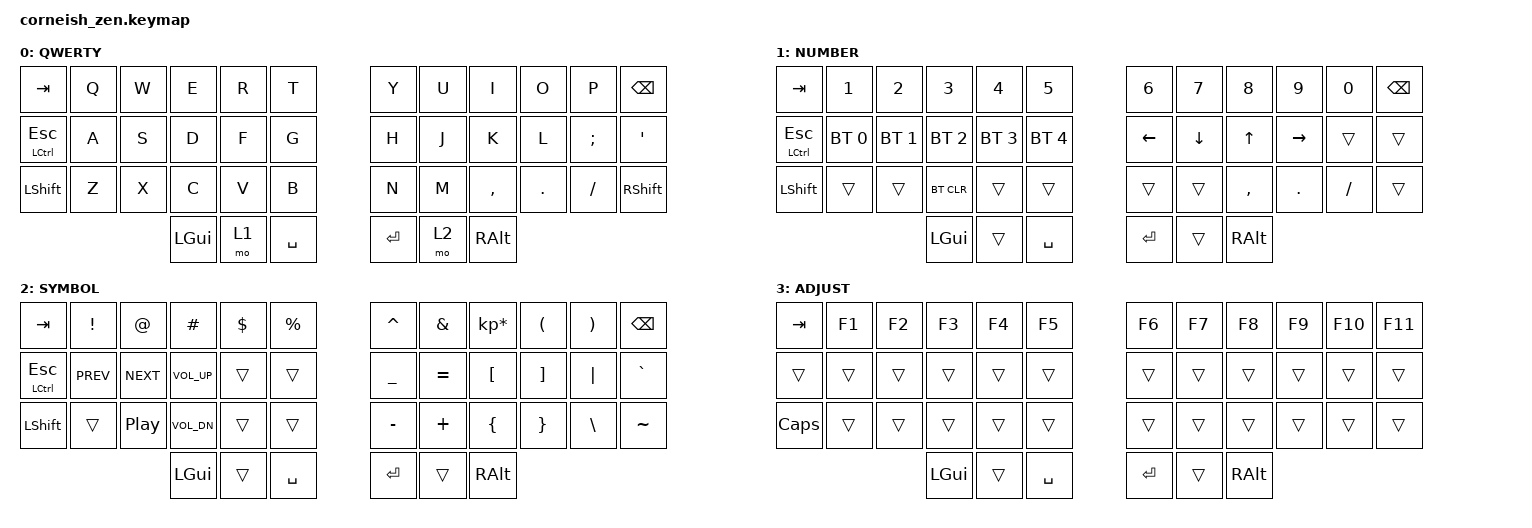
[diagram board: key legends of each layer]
#include <behaviors.dtsi>
#include <dt-bindings/zmk/keys.h>
#include <dt-bindings/zmk/bt.h>

/ {
  chosen {
    zmk,matrix_transform = &default_transform;
    //zmk,matrix_transform = &five_column_transform;
  };
};

/ {
        conditional_layers {
          compatible = "zmk,conditional-layers";
          tri_layer {
            if-layers = <1 2>;
            then-layer = <3>;
          };
        };

        keymap {
                compatible = "zmk,keymap";

                default_layer {
                        label = "QWERTY";
// -----------------------------------------------------------------------------------------
// |  TAB    |  Q  |  W  |  E  |  R  |  T  |   |  Y  |  U   |  I  |  O  |  P  | BKSP |
// |CTRL/ESC |  A  |  S  |  D  |  F  |  G  |   |  H  |  J   |  K  |  L  |  ;  |  '   |
// | SHFT    |  Z  |  X  |  C  |  V  |  B  |   |  N  |  M   |  ,  |  .  |  /  | SHFT |
//                    | GUI | LWR | SPC |   | ENT | RSE  | ALT |
                        bindings = <
   &kp TAB   &kp Q &kp W &kp E &kp R &kp T   &kp Y &kp U  &kp I     &kp O   &kp P    &kp BSPC
   &mt LCTRL ESC &kp A &kp S &kp D &kp F &kp G   &kp H &kp J  &kp K     &kp L   &kp SEMI &kp SQT
   &kp LSHFT &kp Z &kp X &kp C &kp V &kp B   &kp N &kp M  &kp COMMA &kp DOT &kp FSLH &kp RSHFT
                  &kp LGUI &mo 1 &kp SPACE   &kp RET &mo 2 &kp RALT
                        >;
                };
                lower_layer {
                        label = "NUMBER";
// -----------------------------------------------------------------------------------------
// |  TAB     |  1  |  2  |  3   |  4  |  5  |   |  6  |  7  |  8  |  9  |  0  | BKSP |
// | CTRL/ESC | BT0 | BT1 | BT2  | BT3 | BT4 |   | LFT | DWN |  UP | RGT |     |      |
// | SHFT     |     |     | BTCL |     |     |   |     |     |  ,  |  .  |  /  |      |
//                    | GUI |     | SPC |   | ENT |     | ALT |
                        bindings = <
   &kp TAB    &kp N1       &kp N2       &kp N3       &kp N4       &kp N5         &kp N6   &kp N7   &kp N8 &kp N9    &kp N0 &kp BSPC
   &mt LCTRL ESC &bt BT_SEL 0 &bt BT_SEL 1 &bt BT_SEL 2 &bt BT_SEL 3 &bt BT_SEL 4   &kp LEFT &kp DOWN &kp UP &kp RIGHT &trans &trans
   &kp LSHFT  &trans       &trans       &bt BT_CLR       &trans       &trans         &trans   &trans   &kp COMMA &kp DOT &kp FSLH &trans
                          	        &kp LGUI     &trans       &kp SPACE      &kp RET  &trans   &kp RALT
                        >;
                };

                raise_layer {
                        label = "SYMBOL";
// -----------------------------------------------------------------------------------------
// |  TAB     |  !    |  @      |  #   |  $  |  %  |   |  ^  |  &  |  *  |  (  |  )  | BKSP |
// | CTRL/ESC |  PREV |  NEXT   |  VUP |     |     |   |  _  |  =  |  [  |  ]  | "|" |  `   |
// | SHFT     |       | PLAY/PZ |  VDN |     |     |   |  -  |  +  |  {  |  }  |  /  |  ~   |
//                    | GUI |     | SPC |   | ENT |     | ALT |
                        bindings = <
   &kp  TAB  &kp EXCL &kp AT &kp HASH &kp DLLR &kp PRCNT   &kp CARET &kp AMPS  &kp KP_MULTIPLY &kp LPAR &kp RPAR &kp BSPC
   &mt LCTRL ESC &kp C_PREV   &kp C_NEXT &kp C_VOL_UP   &trans   &trans      &kp UNDER &kp EQUAL &kp LBKT        &kp RBKT &kp PIPE &kp GRAVE
   &kp LSHFT &trans   &kp C_PP &kp C_VOL_DN   &trans   &trans      &kp MINUS &kp PLUS  &kp LBRC        &kp RBRC &kp BSLH &kp TILDE
                    	     &kp LGUI &trans   &kp SPACE   &kp RET   &trans    &kp RALT
                        >;
                };

                adjust_layer {
                        label = "ADJUST";
// -----------------------------------------------------------------------------------------
// |          |  F1 |  F2 |  F3 |  F4 |  F5 |   |  F6 |  F7 |  F8 |  F9 | F10 |  F11 |
// |          |     |     |     |     |     |   |     |     |     |     |     |      |
// |          |     |     |     |     |     |   |     |     |     |     |     |      |
//                    | GUI |     | SPC |   | ENT |     | ALT |
                        bindings = <
   &kp  TAB  &kp F1 &kp F2 &kp F3 &kp F4 &kp F5   &kp F6 &kp F7  &kp F8 &kp F9 &kp F10 &kp F11
   &trans &trans   &trans &trans   &trans   &trans      &trans &trans &trans &trans &trans &trans
   &kp CAPS &trans   &trans &trans   &trans   &trans      &trans &trans &trans &trans &trans &trans
                    	     &kp LGUI &trans   &kp SPACE   &kp RET   &trans    &kp RALT
                        >;
                };
        };
};
